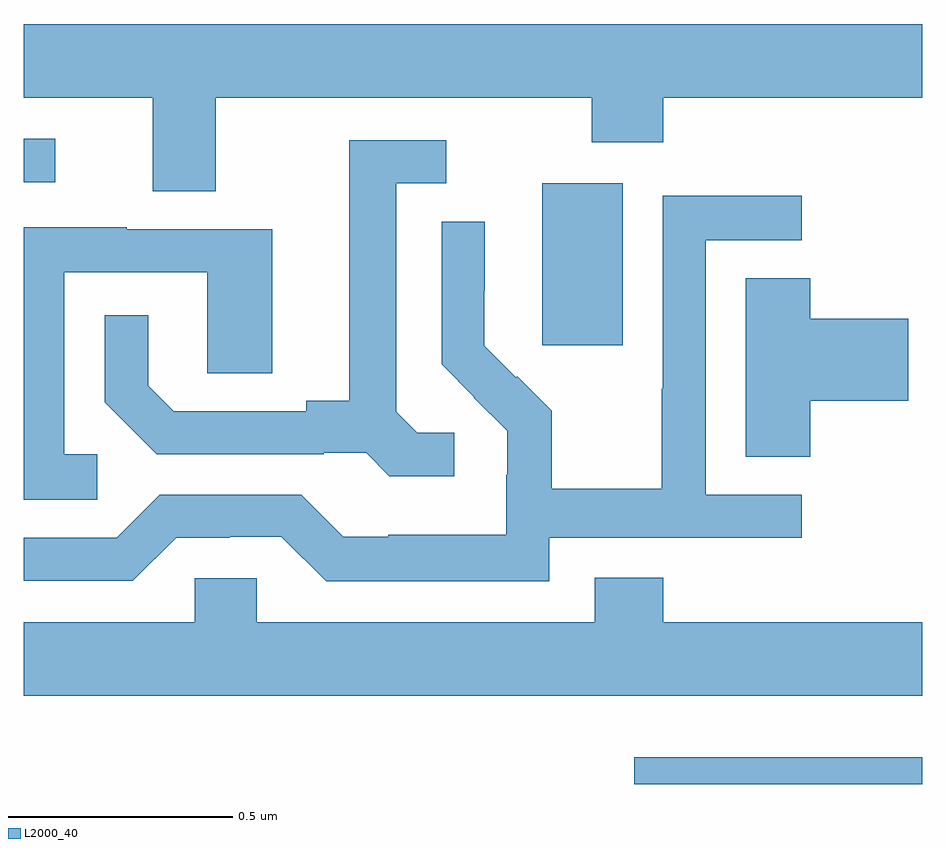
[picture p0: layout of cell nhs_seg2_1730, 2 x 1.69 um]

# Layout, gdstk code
import gdstk
lib = gdstk.Library(unit=1e-6, precision=1e-09)
def R(c, l, rs):  # rectangles x0, y0, x1, y1
    for r in rs: c.add(gdstk.rectangle(r[:2], r[2:], *l))
def P(c, l, *ps):  # polygons
    for p in ps: c.add(gdstk.Polygon(p, *l))
L2000_40 = (2000, 40)

nhs_seg2_1730 = lib.new_cell('nhs_seg2_1730')
R(nhs_seg2_1730, L2000_40, [(133.359,620.8,134,620.86), (133.154,621.777,133.333,622.138), (132,622.14,132.07,622.236)])
P(nhs_seg2_1730, L2000_40, [(132.427,622.328),(133.264,622.328),(133.264,622.229),(133.424,622.229),(133.424,622.328),(134,622.328),(134,622.492),(132,622.492),(132,622.328),(132.287,622.328),(132.287,622.12),(132.427,622.12)],
  [(132.958,621.582),(132.876,621.582),(132.829,621.629),(132.829,622.137),(132.94,622.137),(132.94,622.233),(132.725,622.233),(132.725,621.653),(132.629,621.653),(132.629,621.63),(132.334,621.63),(132.277,621.687),(132.277,621.844),(132.18,621.844),(132.18,621.65),(132.296,621.534),(132.668,621.534),(132.668,621.537),(132.762,621.537),(132.814,621.485),(132.958,621.485)],
  [(133.17,621.348),(133.732,621.348),(133.732,621.444),(133.518,621.444),(133.518,622.011),(133.732,622.011),(133.732,622.11),(133.422,622.11),(133.422,621.68),(133.42,621.68),(133.42,621.457),(133.175,621.457),(133.175,621.631),(133.098,621.708),(133.095,621.705),(133.025,621.776),(133.025,621.898),(133.026,621.898),(133.026,622.052),(132.93,622.052),(132.93,621.734),(133.003,621.661),(133.002,621.66),(133.076,621.586),(133.076,621.489),(133.074,621.489),(133.074,621.355),(132.811,621.355),(132.811,621.351),(132.711,621.351),(132.618,621.444),(132.303,621.444),(132.207,621.348),(132,621.348),(132,621.252),(132.243,621.252),(132.339,621.348),(132.458,621.348),(132.458,621.351),(132.573,621.351),(132.673,621.251),(133.17,621.251)],
  [(132.163,621.534),(132.09,621.534),(132.09,621.939),(132.408,621.939),(132.408,621.715),(132.553,621.715),(132.553,622.035),(132.229,622.035),(132.229,622.039),(132,622.039),(132,621.433),(132.163,621.433)],
  [(133.751,621.653),(133.969,621.653),(133.969,621.836),(133.751,621.836),(133.751,621.926),(133.607,621.926),(133.607,621.529),(133.751,621.529)],
  [(134,621.16),(133.424,621.16),(133.424,621.259),(133.271,621.259),(133.271,621.16),(132.519,621.16),(132.519,621.258),(132.381,621.258),(132.381,621.16),(132,621.16),(132,620.996),(134,620.996)])

lib.write_gds('nhs_seg2_1730.gds')
